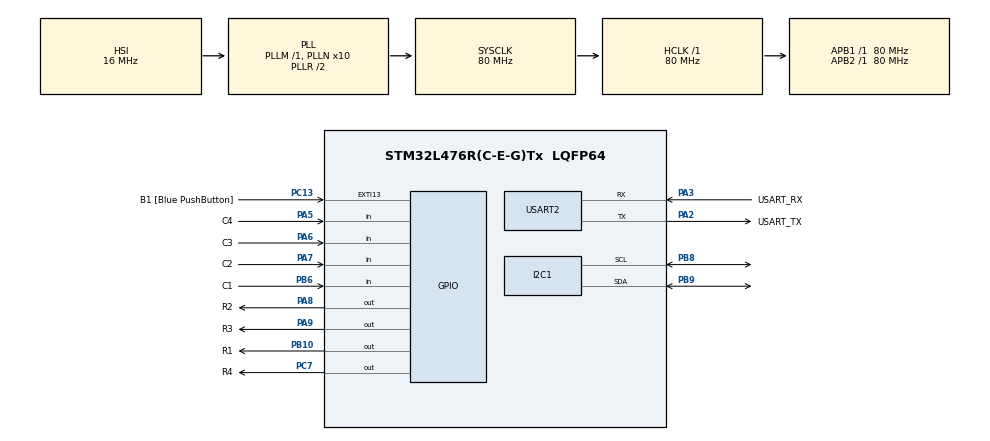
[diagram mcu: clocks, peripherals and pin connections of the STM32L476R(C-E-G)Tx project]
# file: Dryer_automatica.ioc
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I2C1.Timing=0x10909CEC
Mcu.Family=STM32L4
Mcu.Name=STM32L476R(C-E-G)Tx
Mcu.Package=LQFP64
NVIC.PriorityGroup=NVIC_PRIORITYGROUP_4
PA13\ (JTMS-SWDIO).GPIO_Label=TMS
PA13\ (JTMS-SWDIO).Mode=Serial_Wire
PA13\ (JTMS-SWDIO).Signal=SYS_JTMS-SWDIO
PA14\ (JTCK-SWCLK).GPIO_Label=TCK
PA14\ (JTCK-SWCLK).Mode=Serial_Wire
PA14\ (JTCK-SWCLK).Signal=SYS_JTCK-SWCLK
PA2.GPIO_Label=USART_TX
PA2.GPIO_Mode=GPIO_MODE_AF_PP
PA2.GPIO_PuPd=GPIO_NOPULL
PA2.GPIO_Speed=GPIO_SPEED_FREQ_VERY_HIGH
PA2.Mode=Asynchronous
PA2.Signal=USART2_TX
PA3.GPIO_Label=USART_RX
PA3.GPIO_Mode=GPIO_MODE_AF_PP
PA3.GPIO_PuPd=GPIO_NOPULL
PA3.GPIO_Speed=GPIO_SPEED_FREQ_VERY_HIGH
PA3.Mode=Asynchronous
PA3.Signal=USART2_RX
PA5.GPIO_Label=C4
PA5.GPIO_PuPd=GPIO_PULLUP
PA5.Signal=GPIO_Input
PA6.GPIO_Label=C3
PA6.GPIO_PuPd=GPIO_PULLUP
PA6.Signal=GPIO_Input
PA7.GPIO_Label=C2
PA7.GPIO_PuPd=GPIO_PULLUP
PA7.Signal=GPIO_Input
PA8.GPIO_Label=R2
PA8.Signal=GPIO_Output
PA9.GPIO_Label=R3
PA9.Signal=GPIO_Output
PB10.GPIO_Label=R1
PB10.Signal=GPIO_Output
PB3\ (JTDO-TRACESWO).GPIO_Label=SWO
PB3\ (JTDO-TRACESWO).Signal=SYS_JTDO-SWO
PB6.GPIO_Label=C1
PB6.GPIO_PuPd=GPIO_PULLUP
PB6.Signal=GPIO_Input
PB8.Mode=I2C
PB8.Signal=I2C1_SCL
PB9.Mode=I2C
PB9.Signal=I2C1_SDA
PC13.GPIO_Label=B1 [Blue PushButton]
PC13.GPIO_ModeDefaultEXTI=GPIO_MODE_IT_FALLING
PC13.GPIO_PuPd=GPIO_NOPULL
PC13.Signal=GPXTI13
PC14-OSC32_IN\ (PC14).Signal=RCC_OSC32_IN
PC15-OSC32_OUT\ (PC15).Signal=RCC_OSC32_OUT
PC7.GPIO_Label=R4
PC7.Signal=GPIO_Output
PH0-OSC_IN\ (PH0).Mode=HSE-External-Oscillator
PH0-OSC_IN\ (PH0).Signal=RCC_OSC_IN
PH1-OSC_OUT\ (PH1).Mode=HSE-External-Oscillator
PH1-OSC_OUT\ (PH1).Signal=RCC_OSC_OUT
ProjectManager.HeapSize=0x200
ProjectManager.StackSize=0x400
ProjectManager.TargetToolchain=STM32CubeIDE
RCC.ADCFreq_Value=64000000
RCC.AHBFreq_Value=80000000
RCC.APB1Freq_Value=80000000
RCC.APB1TimFreq_Value=80000000
RCC.APB2Freq_Value=80000000
RCC.APB2TimFreq_Value=80000000
RCC.CortexFreq_Value=80000000
RCC.HCLKFreq_Value=80000000
RCC.HSE_VALUE=8000000
RCC.HSI_VALUE=16000000
RCC.MSI_VALUE=4000000
RCC.PLLN=10
RCC.PLLSourceVirtual=RCC_PLLSOURCE_HSI
RCC.PREFETCH_ENABLE=1
RCC.SYSCLKFreq_VALUE=80000000
RCC.SYSCLKSource=RCC_SYSCLKSOURCE_PLLCLK
RCC.USBFreq_Value=64000000
RCC.VCOOutputFreq_Value=160000000
USART2.VirtualMode-Asynchronous=VM_ASYNC
board=NUCLEO-L476RG

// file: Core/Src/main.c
/* USER CODE BEGIN Header */
/**
  ******************************************************************************
  * @file           : main.c
  * @brief          : Main program body
  ******************************************************************************
  * @attention
  *
  * Copyright (c) 2023 STMicroelectronics.
  * All rights reserved.
  *
  * This software is licensed under terms that can be found in the LICENSE file
  * in the root directory of this software component.
  * If no LICENSE file comes with this software, it is provided AS-IS.
  *
  ******************************************************************************
  */
/* USER CODE END Header */
#include "main.h"

/* USER CODE BEGIN Includes */
#include "i2c-lcd.h"
#include "keypad_4x4.h"

/* USER CODE END Includes */

I2C_HandleTypeDef hi2c1;

UART_HandleTypeDef huart2;

/* USER CODE BEGIN PV */
 char key;

/* USER CODE END PV */

void SystemClock_Config(void);
static void MX_GPIO_Init(void);
static void MX_USART2_UART_Init(void);
static void MX_I2C1_Init(void);

// Declaración de las funciones para los tres casos
void caso1(void);
void caso2(void);
void caso3(void);

// Función para inicializar la pantalla LCD con el mensaje inicial
void inicializarLCD(void);

// Función para mostrar mensajes específicos en la LCD
void mostrarMensaje(const char *linea1, const char *linea2);

int main(void)
{

  /* MCU Configuration--------------------------------------------------------*/

  /* Reset of all peripherals, Initializes the Flash interface and the Systick. */
  HAL_Init();

  /* Configure the system clock */
  SystemClock_Config();

  /* Initialize all configured peripherals */
  MX_GPIO_Init();
  MX_USART2_UART_Init();
  MX_I2C1_Init();
  /* USER CODE BEGIN 2 */

    lcd_init();
    lcd_enviar("key", 1, 3);
    HAL_Delay(2000);
    lcd_clear();

    inicializarLCD();
  /* USER CODE END 2 */

  /* Infinite loop */
  /* USER CODE BEGIN WHILE */
  while (1)
  {

	  // Leer la entrada utilizando la función de la librería de keypad
	           key = Keypad_Get_Char();
	           if (key == '1' || key == '2' || key == '3') {
	          // Realizar acciones según el valor leído
	          switch (key) {
	              case '1':
	                  caso1();
	                  break;

	              case '2':
	                  caso2();
	                  break;

	              case '3':
	                  caso3();
	                  break;

	              default:
	                  // Puedes manejar otras teclas o casos según sea necesario
	                  break;
	          }
	           }
	          else {
	                      // Ignorar la tecla que no está en el rango deseado
	                  }

	  // lcd_enviar("ciclo de secado", 0, 1);
	 //lcd_clear();
	// HAL_Delay(2000);

	  	 /* key= Keypad_Get_Char();
	  	  if(key!=0){

	  		  lcd_enviar("key", 1, 3);
	  		  lcd_send_string(&key);

	  		  if(key =='*'){
	  			  lcd_clear();
	  		  }

	  	  }*/

    /* USER CODE END WHILE */

  }
}

// Función para inicializar la pantalla LCD con el mensaje inicial
void inicializarLCD(void) {
    mostrarMensaje("Dryer Automatica", "Ciclos de Secado");
}

// Función para mostrar mensajes específicos en la LCD
void mostrarMensaje(const char *linea1, const char *linea2) {
    // Asegúrate de tener una función en tu librería de LCD que permita mostrar texto
    lcd_clear();  // Limpia la pantalla antes de mostrar un nuevo mensaje
    lcd_put_cur(0, 0);  // Coloca el cursor en la primera línea
    lcd_send_string(linea1);  // Muestra el mensaje en la primera línea
    lcd_put_cur(1, 0);  // Coloca el cursor en la segunda línea
    lcd_send_string(linea2);  // Muestra el mensaje en la segunda línea
}

// Implementación de la función para el caso 1
void caso1(void) {
    // Muestra el mensaje específico en la LCD
    mostrarMensaje("High", "");

    // Inicializa el contador de segundos
    int contador = 1;

    // Mientras el contador sea menor o igual a 60
    while (contador <= 10) {
        // Actualiza la segunda línea de la LCD con el valor del contador
        char mensaje[16];
        sprintf(mensaje, "Segundos: %02d", contador);
        lcd_put_cur(1, 0);
        lcd_send_string(mensaje);

        // Espera un segundo (ajusta según la unidad de tiempo que estés utilizando)
        HAL_Delay(1000);

        // Incrementa el contador
        contador++;
    }

    // Vuelve a la pantalla inicial después de contar hasta 60 segundos
    inicializarLCD();
}

// Implementación de la función para el caso 2
void caso2(void) {
    // Muestra el mensaje específico en la LCD
    mostrarMensaje("Medium", "");

    // Inicializa el contador de segundos
       int contador = 1;

       // Mientras el contador sea menor o igual a 60
       while (contador <= 15) {
           // Actualiza la segunda línea de la LCD con el valor del contador
           char mensaje[16];
           sprintf(mensaje, "Segundos: %02d", contador);
           lcd_put_cur(1, 0);
           lcd_send_string(mensaje);

           // Espera un segundo (ajusta según la unidad de tiempo que estés utilizando)
           HAL_Delay(1000);

           // Incrementa el contador
           contador++;
       }

    // Espera durante un minuto (ajusta según la unidad de tiempo que estés utilizando)
   // HAL_Delay(60000);

    // Vuelve a la pantalla inicial después de un minuto
    inicializarLCD();
}

// Implementación de la función para el caso 3
void caso3(void) {
    // Muestra el mensaje específico en la LCD
    mostrarMensaje("Low", "");

    // Inicializa el contador de segundos
       int contador = 1;

       // Mientras el contador sea menor o igual a 60
       while (contador <= 20) {
           // Actualiza la segunda línea de la LCD con el valor del contador
           char mensaje[16];
           sprintf(mensaje, "Segundos: %02d", contador);
           lcd_put_cur(1, 0);
           lcd_send_string(mensaje);

           // Espera un segundo (ajusta según la unidad de tiempo que estés utilizando)
           HAL_Delay(1000);

           // Incrementa el contador
           contador++;
       }

    // Espera durante un minuto (ajusta según la unidad de tiempo que estés utilizando)
   // HAL_Delay(60000);

    // Vuelve a la pantalla inicial después de un minuto
    inicializarLCD();
}

void SystemClock_Config(void)
{
  RCC_OscInitTypeDef RCC_OscInitStruct = {0};
  RCC_ClkInitTypeDef RCC_ClkInitStruct = {0};

  /** Configure the main internal regulator output voltage
  */
  if (HAL_PWREx_ControlVoltageScaling(PWR_REGULATOR_VOLTAGE_SCALE1) != HAL_OK)
  {
    Error_Handler();
  }

  /** Initializes the RCC Oscillators according to the specified parameters
  * in the RCC_OscInitTypeDef structure.
  */
  RCC_OscInitStruct.OscillatorType = RCC_OSCILLATORTYPE_HSI;
  RCC_OscInitStruct.HSIState = RCC_HSI_ON;
  RCC_OscInitStruct.HSICalibrationValue = RCC_HSICALIBRATION_DEFAULT;
  RCC_OscInitStruct.PLL.PLLState = RCC_PLL_ON;
  RCC_OscInitStruct.PLL.PLLSource = RCC_PLLSOURCE_HSI;
  RCC_OscInitStruct.PLL.PLLM = 1;
  RCC_OscInitStruct.PLL.PLLN = 10;
  RCC_OscInitStruct.PLL.PLLP = RCC_PLLP_DIV7;
  RCC_OscInitStruct.PLL.PLLQ = RCC_PLLQ_DIV2;
  RCC_OscInitStruct.PLL.PLLR = RCC_PLLR_DIV2;
  if (HAL_RCC_OscConfig(&RCC_OscInitStruct) != HAL_OK)
  {
    Error_Handler();
  }

  /** Initializes the CPU, AHB and APB buses clocks
  */
  RCC_ClkInitStruct.ClockType = RCC_CLOCKTYPE_HCLK|RCC_CLOCKTYPE_SYSCLK
                              |RCC_CLOCKTYPE_PCLK1|RCC_CLOCKTYPE_PCLK2;
  RCC_ClkInitStruct.SYSCLKSource = RCC_SYSCLKSOURCE_PLLCLK;
  RCC_ClkInitStruct.AHBCLKDivider = RCC_SYSCLK_DIV1;
  RCC_ClkInitStruct.APB1CLKDivider = RCC_HCLK_DIV1;
  RCC_ClkInitStruct.APB2CLKDivider = RCC_HCLK_DIV1;

  if (HAL_RCC_ClockConfig(&RCC_ClkInitStruct, FLASH_LATENCY_4) != HAL_OK)
  {
    Error_Handler();
  }
}

static void MX_I2C1_Init(void)
{

  hi2c1.Instance = I2C1;
  hi2c1.Init.Timing = 0x10909CEC;
  hi2c1.Init.OwnAddress1 = 0;
  hi2c1.Init.AddressingMode = I2C_ADDRESSINGMODE_7BIT;
  hi2c1.Init.DualAddressMode = I2C_DUALADDRESS_DISABLE;
  hi2c1.Init.OwnAddress2 = 0;
  hi2c1.Init.OwnAddress2Masks = I2C_OA2_NOMASK;
  hi2c1.Init.GeneralCallMode = I2C_GENERALCALL_DISABLE;
  hi2c1.Init.NoStretchMode = I2C_NOSTRETCH_DISABLE;
  if (HAL_I2C_Init(&hi2c1) != HAL_OK)
  {
    Error_Handler();
  }

  /** Configure Analogue filter
  */
  if (HAL_I2CEx_ConfigAnalogFilter(&hi2c1, I2C_ANALOGFILTER_ENABLE) != HAL_OK)
  {
    Error_Handler();
  }

  /** Configure Digital filter
  */
  if (HAL_I2CEx_ConfigDigitalFilter(&hi2c1, 0) != HAL_OK)
  {
    Error_Handler();
  }

}

static void MX_USART2_UART_Init(void)
{

  huart2.Instance = USART2;
  huart2.Init.BaudRate = 115200;
  huart2.Init.WordLength = UART_WORDLENGTH_8B;
  huart2.Init.StopBits = UART_STOPBITS_1;
  huart2.Init.Parity = UART_PARITY_NONE;
  huart2.Init.Mode = UART_MODE_TX_RX;
  huart2.Init.HwFlowCtl = UART_HWCONTROL_NONE;
  huart2.Init.OverSampling = UART_OVERSAMPLING_16;
  huart2.Init.OneBitSampling = UART_ONE_BIT_SAMPLE_DISABLE;
  huart2.AdvancedInit.AdvFeatureInit = UART_ADVFEATURE_NO_INIT;
  if (HAL_UART_Init(&huart2) != HAL_OK)
  {
    Error_Handler();
  }

}

static void MX_GPIO_Init(void)
{
  GPIO_InitTypeDef GPIO_InitStruct = {0};

  /* GPIO Ports Clock Enable */
  __HAL_RCC_GPIOC_CLK_ENABLE();
  __HAL_RCC_GPIOH_CLK_ENABLE();
  __HAL_RCC_GPIOA_CLK_ENABLE();
  __HAL_RCC_GPIOB_CLK_ENABLE();

  /*Configure GPIO pin Output Level */
  HAL_GPIO_WritePin(R1_GPIO_Port, R1_Pin, GPIO_PIN_RESET);

  /*Configure GPIO pin Output Level */
  HAL_GPIO_WritePin(R4_GPIO_Port, R4_Pin, GPIO_PIN_RESET);

  /*Configure GPIO pin Output Level */
  HAL_GPIO_WritePin(GPIOA, R2_Pin|R3_Pin, GPIO_PIN_RESET);

  /*Configure GPIO pin : B1_Pin */
  GPIO_InitStruct.Pin = B1_Pin;
  GPIO_InitStruct.Mode = GPIO_MODE_IT_FALLING;
  GPIO_InitStruct.Pull = GPIO_NOPULL;
  HAL_GPIO_Init(B1_GPIO_Port, &GPIO_InitStruct);

  /*Configure GPIO pins : C4_Pin C3_Pin C2_Pin */
  GPIO_InitStruct.Pin = C4_Pin|C3_Pin|C2_Pin;
  GPIO_InitStruct.Mode = GPIO_MODE_INPUT;
  GPIO_InitStruct.Pull = GPIO_PULLUP;
  HAL_GPIO_Init(GPIOA, &GPIO_InitStruct);

  /*Configure GPIO pin : R1_Pin */
  GPIO_InitStruct.Pin = R1_Pin;
  GPIO_InitStruct.Mode = GPIO_MODE_OUTPUT_PP;
  GPIO_InitStruct.Pull = GPIO_NOPULL;
  GPIO_InitStruct.Speed = GPIO_SPEED_FREQ_LOW;
  HAL_GPIO_Init(R1_GPIO_Port, &GPIO_InitStruct);

  /*Configure GPIO pin : R4_Pin */
  GPIO_InitStruct.Pin = R4_Pin;
  GPIO_InitStruct.Mode = GPIO_MODE_OUTPUT_PP;
  GPIO_InitStruct.Pull = GPIO_NOPULL;
  GPIO_InitStruct.Speed = GPIO_SPEED_FREQ_LOW;
  HAL_GPIO_Init(R4_GPIO_Port, &GPIO_InitStruct);

  /*Configure GPIO pins : R2_Pin R3_Pin */
  GPIO_InitStruct.Pin = R2_Pin|R3_Pin;
  GPIO_InitStruct.Mode = GPIO_MODE_OUTPUT_PP;
  GPIO_InitStruct.Pull = GPIO_NOPULL;
  GPIO_InitStruct.Speed = GPIO_SPEED_FREQ_LOW;
  HAL_GPIO_Init(GPIOA, &GPIO_InitStruct);

  /*Configure GPIO pin : C1_Pin */
  GPIO_InitStruct.Pin = C1_Pin;
  GPIO_InitStruct.Mode = GPIO_MODE_INPUT;
  GPIO_InitStruct.Pull = GPIO_PULLUP;
  HAL_GPIO_Init(C1_GPIO_Port, &GPIO_InitStruct);

}

void Error_Handler(void)
{
  __disable_irq();
  while (1)
  {
  }
}
